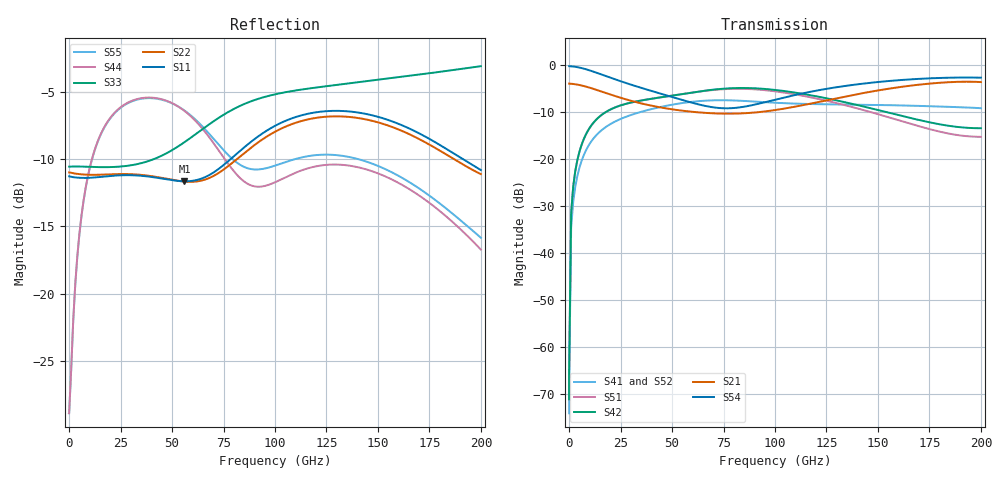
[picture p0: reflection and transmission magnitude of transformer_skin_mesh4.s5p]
! Created with skrf 2.1.0 (http://scikit-rf.org).
# GHz S DB R 50.0
! Port[1] = P1
! Port[2] = P2
! Port[3] = P3
! Port[4] = P4
! Port[5] = P5
!freq dBS11 angS11 dBS12 angS12 dBS13 angS13
! dBS14 angS14 dBS15 angS15
! dBS21 angS21 dBS22 angS22 dBS23 angS23
! dBS24 angS24 dBS25 angS25
! dBS31 angS31 dBS32 angS32 dBS33 angS33
! dBS34 angS34 dBS35 angS35
! dBS41 angS41 dBS42 angS42 dBS43 angS43
! dBS44 angS44 dBS45 angS45
! dBS51 angS51 dBS52 angS52 dBS53 angS53
! dBS54 angS54 dBS55 angS55
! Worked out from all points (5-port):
!   202 points, 10 MHz to 200 GHz, reference 50 ohm
!   strongest paths, dB at 10 MHz, 49 GHz, 100 GHz, 150 GHz, 200 GHz:
!     S54: -0.3, -6.8, -7.5, -3.7, -2.8
!     S21: -4.0, -9.4, -9.7, -5.5, -3.7
!     S42: -71.2, -6.7, -5.4, -9.6, -13.5
!     S51: -71.2, -6.6, -5.7, -10.5, -15.4
!     S41: -74.2, -8.6, -8.1, -8.6, -9.3
!     S52: -74.2, -8.6, -8.1, -8.7, -9.5
!   lowest |S11| = -11.7 dB at 56 GHz (marker M1), VSWR 1.71, Z = 71.6 + j24.1 ohm
!   |S11| at or under -10 dB: start of sweep to 78.55 GHz; 191 GHz to end of sweep
